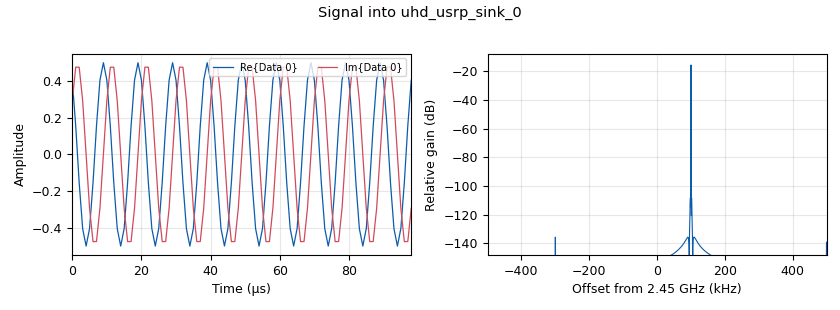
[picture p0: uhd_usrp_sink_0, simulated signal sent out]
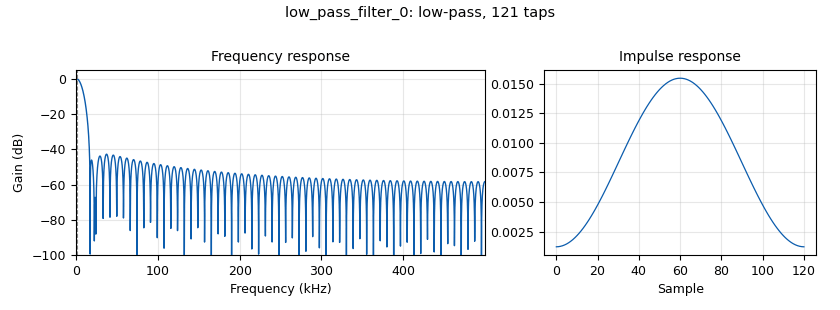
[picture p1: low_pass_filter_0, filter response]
options:
  parameters:
    author: Srihari
    description: Transmitter side for RF intrusion detection using USRP
    generate_options: qt_gui
    id: Tx_intrusion_detection
    output_language: python
    title: Tx - Intrusion Detection
  states: {}

blocks:
- name: center_freq
  id: variable
  parameters:
    value: 2.45e9
  states: {}
- name: samp_rate
  id: variable
  parameters:
    value: '1000000'
  states: {}
- name: samp_rate_0
  id: variable
  parameters:
    value: '1000000'
  states: {}
- name: signal_freq
  id: variable
  parameters:
    value: '100000'
  states: {}
- name: threshold
  id: variable_qtgui_range
  parameters:
    comment: Adjust Tx gain at runtime
    label: threshold level
    start: '0'
    step: '0.001'
    stop: '1'
    value: '0.05'
  states: {}
- name: tx_gain
  id: variable_qtgui_range
  parameters:
    comment: Adjust Tx gain at runtime
    label: Tx Gain (dB)
    rangeType: int
    start: '0'
    step: '1'
    stop: '60'
    value: '30'
  states: {}
- name: analog_agc2_xx_0
  id: analog_agc2_xx
  parameters:
    attack_rate: '1e-1'
    decay_rate: '1e-2'
    gain: '1.0'
    max_gain: '65536'
    reference: '1.0'
    type: complex
  states: {}
- name: analog_sig_source_x_0
  id: analog_sig_source_x
  parameters:
    amp: '1'
    comment: Continuous sine wave carrier
    freq: signal_freq
    offset: '0'
    phase: '0'
    samp_rate: samp_rate
    type: complex
    waveform: analog.GR_SIN_WAVE
  states: {}
- name: audio_sink_0
  id: audio_sink
  parameters:
    samp_rate: '48000'
  states: {state: disabled}
- name: blocks_complex_to_mag_squared_0
  id: blocks_complex_to_mag_squared
  parameters: {}
  states: {}
- name: blocks_moving_average_xx_0
  id: blocks_moving_average_xx
  parameters:
    length: '200'
    max_iter: '4000'
    scale: 1/200
    type: float
  states: {}
- name: blocks_multiply_const_vxx_0
  id: blocks_multiply_const_vxx
  parameters:
    comment: Scale to 0.5 to prevent USRP DAC clipping
    const: '0.5'
    type: complex
  states: {}
- name: epy_block_1
  id: epy_block
  parameters:
    _source_code: |-
      """
      Embedded Python Blocks:

      Each time this file is saved, GRC will instantiate the first class it finds
      to get ports and parameters of your block. The arguments to __init__  will
      be the parameters. All of them are required to have default values!
      """

      import numpy as np
      from gnuradio import gr


      class blk(gr.sync_block):
          """Intrusion detector with alarm tone"""

          def __init__(self, threshold=0.05, baseline_samples=5000, samp_rate=48000):
              gr.sync_block.__init__(
                  self,
                  name='Intrusion detector',
                  in_sig=[np.float32],
                  out_sig=[np.float32]
              )

              self.threshold = threshold
              self.baseline_samples = baseline_samples
              self.baseline_buffer = []
              self.baseline = 0.0
              self.armed = False

              # Alarm tone parameters
              self.samp_rate = samp_rate
              self.freq = 1000  # 1 kHz tone
              self.phase = 0

          def work(self, input_items, output_items):
              inp = input_items[0]
              out = output_items[0]

              if not self.armed:
                  self.baseline_buffer.extend(inp.tolist())

                  if len(self.baseline_buffer) >= self.baseline_samples:
                      self.baseline = np.mean(self.baseline_buffer)
                      self.armed = True
                      print(f"[ARMED] Baseline power: {self.baseline:.6f}")

                  out[:] = 0  # silence

              else:
                  current_power = np.mean(inp)
                  print('current power')
                  print(current_power)
                  print('Baseline Buffer')
                  print(self.baseline + 1e-12)
                  ratio = current_power / (self.baseline + 1e-12)

                  if ratio > (1.0 + self.threshold) or ratio < (1.0 - self.threshold):
                      direction = "INCREASE" if ratio > 1.0 else "DECREASE"
                      print(f"[ALERT] Intrusion detected! Power ratio: {ratio:.3f} ({direction})")

                      # Generate alarm tone
                      t = np.arange(len(out))
                      out[:] = 0.5 * np.sin(2 * np.pi * self.freq * t / self.samp_rate + self.phase)
                      self.phase += 2 * np.pi * self.freq * len(out) / self.samp_rate
                      self.phase %= 2 * np.pi

                  else:
                      out[:] = 0  # no sound

              return len(out)
    baseline_samples: '5000'
    samp_rate: '48000'
    threshold: threshold
  states: {}
- name: low_pass_filter_0
  id: low_pass_filter
  parameters:
    cutoff_freq: '1000'
    decim: '1'
    gain: '1'
    samp_rate: samp_rate
    type: fir_filter_ccf
    width: '20000'
    win: window.WIN_HAMMING
  states: {}
- name: qtgui_freq_sink_x_0
  id: qtgui_freq_sink_x
  parameters:
    average: '0.05'
    bw: samp_rate
    comment: Verify Tx spectrum before transmitting
    fc: center_freq
    fftsize: '1024'
    label1: Tx Spectrum
    type: complex
  states: {state: disabled}
- name: qtgui_freq_sink_x_0_0
  id: qtgui_freq_sink_x
  parameters:
    bw: samp_rate
    fc: 2.45e9
    fftsize: '1024'
    type: complex
  states: {state: disabled}
- name: qtgui_freq_sink_x_0_0_1
  id: qtgui_freq_sink_x
  parameters:
    bw: samp_rate
    fc: 2.45e9
    fftsize: '1024'
    type: float
  states: {}
- name: qtgui_freq_sink_x_0_0_1_0
  id: qtgui_freq_sink_x
  parameters:
    bw: samp_rate
    fc: 2.45e9
    fftsize: '1024'
    type: float
  states: {}
- name: qtgui_time_sink_x_0
  id: qtgui_time_sink_x
  parameters:
    comment: Monitor Tx waveform
    label1: Tx Signal
    size: '1024'
    srate: samp_rate
    type: complex
  states: {state: disabled}
- name: qtgui_time_sink_x_0_0
  id: qtgui_time_sink_x
  parameters:
    autoscale: 'True'
    size: '1024'
    srate: samp_rate
    type: float
  states: {state: disabled}
- name: qtgui_time_sink_x_0_0_0
  id: qtgui_time_sink_x
  parameters:
    autoscale: 'True'
    size: '1024'
    srate: samp_rate
    type: float
  states: {}
- name: qtgui_waterfall_sink_x_0
  id: qtgui_waterfall_sink_x
  parameters:
    bw: samp_rate
    fc: 2.45e9
    fftsize: '1024'
    type: complex
  states: {state: disabled}
- name: uhd_usrp_sink_0
  id: uhd_usrp_sink
  parameters:
    ant0: TX/RX
    bw0: '1000000'
    center_freq0: center_freq
    comment: USRP Transmitter - must match Rx center freq
    dev_addr: ''
    gain0: tx_gain
    otw: sc16
    samp_rate: samp_rate
    sync: sync
    time_source0: internal
    type: fc32
  states: {}
- name: uhd_usrp_source_0
  id: uhd_usrp_source
  parameters:
    ant0: '"TX/RX"'
    bw0: '30'
    center_freq0: 2.45e9
    clock_source0: internal
    gain0: '60'
    samp_rate: samp_rate
    sync: none
    type: fc32
  states: {}

connections:
- [analog_agc2_xx_0, '0', low_pass_filter_0, '0']
- [analog_sig_source_x_0, '0', blocks_multiply_const_vxx_0, '0']
- [blocks_complex_to_mag_squared_0, '0', blocks_moving_average_xx_0, '0']
- [blocks_moving_average_xx_0, '0', epy_block_1, '0']
- [blocks_moving_average_xx_0, '0', qtgui_freq_sink_x_0_0_1_0, '0']
- [blocks_moving_average_xx_0, '0', qtgui_time_sink_x_0_0, '0']
- [blocks_moving_average_xx_0, '0', qtgui_time_sink_x_0_0_0, '0']
- [blocks_multiply_const_vxx_0, '0', qtgui_freq_sink_x_0, '0']
- [blocks_multiply_const_vxx_0, '0', qtgui_time_sink_x_0, '0']
- [blocks_multiply_const_vxx_0, '0', uhd_usrp_sink_0, '0']
- [epy_block_1, '0', audio_sink_0, '0']
- [epy_block_1, '0', qtgui_freq_sink_x_0_0_1, '0']
- [low_pass_filter_0, '0', blocks_complex_to_mag_squared_0, '0']
- [low_pass_filter_0, '0', qtgui_freq_sink_x_0_0, '0']
- [low_pass_filter_0, '0', qtgui_waterfall_sink_x_0, '0']
- [uhd_usrp_source_0, '0', analog_agc2_xx_0, '0']

metadata:
  file_format: 1
  grc_version: 3.10.12.0
